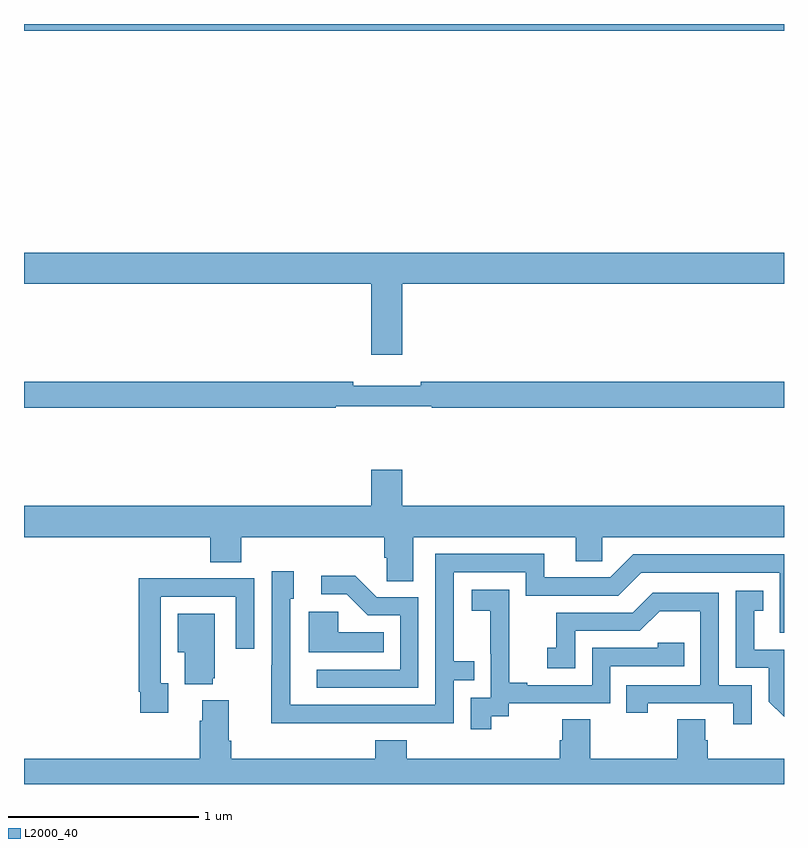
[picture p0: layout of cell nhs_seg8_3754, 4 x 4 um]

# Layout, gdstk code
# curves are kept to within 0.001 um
import gdstk
lib = gdstk.Library(unit=1e-6, precision=1e-09)
def R(c, l, rs):  # rectangles x0, y0, x1, y1
    for r in rs: c.add(gdstk.rectangle(r[:2], r[2:], *l))
def P(c, l, *ps):  # polygons
    for p in ps: c.add(gdstk.Polygon(p, *l))
L2000_40 = (2000, 40)

nhs_seg8_3754 = lib.new_cell('nhs_seg8_3754')
R(nhs_seg8_3754, L2000_40, [(343,1085.864,347,1085.9)])
P(nhs_seg8_3754, L2000_40, [(344.992,1084.532),(347,1084.532),(347,1084.696),(343,1084.696),(343,1084.532),(344.828,1084.532),(344.828,1084.158),(344.992,1084.158)],
  [(344.642,1083.888),(345.145,1083.888),(345.145,1083.88),(347,1083.88),(347,1084.016),(345.088,1084.016),(345.088,1083.997),(344.732,1083.997),(344.732,1084.016),(343,1084.016),(343,1083.88),(344.642,1083.88)],
  [(345.049,1083.2),(345.905,1083.2),(345.905,1083.073),(346.044,1083.073),(346.044,1083.2),(347,1083.2),(347,1083.364),(344.992,1083.364),(344.992,1083.553),(344.828,1083.553),(344.828,1083.364),(343,1083.364),(343,1083.2),(343.979,1083.2),(343.979,1083.067),(344.144,1083.067),(344.144,1083.2),(344.897,1083.2),(344.897,1083.091),(344.91,1083.091),(344.91,1082.968),(345.049,1082.968)],
  [(344.765,1082.22),(345.261,1082.22),(345.261,1082.445),(345.371,1082.445),(345.371,1082.546),(345.261,1082.546),(345.261,1083.015),(345.642,1083.015),(345.642,1082.892),(346.128,1082.892),(346.248,1083.012),(346.977,1083.012),(346.977,1082.697),(347,1082.697),(347,1083.108),(346.206,1083.108),(346.086,1082.988),(345.739,1082.988),(345.739,1083.111),(345.165,1083.111),(345.165,1082.316),(344.401,1082.316),(344.4,1082.874),(344.419,1082.874),(344.419,1083.019),(344.304,1083.019),(344.304,1082.525),(344.302,1082.525),(344.302,1082.219)],
  [(345.075,1082.883),(344.856,1082.883),(344.743,1082.996),(344.565,1082.996),(344.565,1082.898),(344.699,1082.898),(344.81,1082.787),(344.979,1082.787),(344.979,1082.502),(344.541,1082.502),(344.541,1082.406),(345.075,1082.406)],
  [(343.759,1082.43),(343.719,1082.43),(343.719,1082.886),(344.115,1082.886),(344.115,1082.613),(344.211,1082.613),(344.211,1082.982),(343.895,1082.982),(343.895,1082.984),(343.603,1082.984),(343.603,1082.386),(343.611,1082.386),(343.611,1082.274),(343.759,1082.274)],
  [(345.46,1082.257),(345.552,1082.257),(345.552,1082.325),(346.086,1082.325),(346.086,1082.52),(346.475,1082.52),(346.475,1082.643),(346.335,1082.643),(346.335,1082.616),(345.99,1082.616),(345.99,1082.421),(345.649,1082.421),(345.649,1082.434),(345.554,1082.434),(345.554,1082.717),(345.555,1082.717),(345.555,1082.923),(345.357,1082.923),(345.357,1082.813),(345.455,1082.813),(345.455,1082.585),(345.456,1082.585),(345.456,1082.355),(345.351,1082.355),(345.351,1082.187),(345.46,1082.187)],
  [(347,1082.607),(346.843,1082.607),(346.843,1082.811),(346.892,1082.811),(346.892,1082.917),(346.746,1082.917),(346.746,1082.511),(346.92,1082.511),(346.92,1082.334),(347,1082.255)],
  [(346.83,1082.421),(346.656,1082.421),(346.656,1082.907),(346.31,1082.907),(346.205,1082.802),(345.802,1082.802),(345.802,1082.617),(345.753,1082.617),(345.753,1082.508),(345.9,1082.508),(345.9,1082.706),(346.242,1082.706),(346.346,1082.81),(346.56,1082.81),(346.56,1082.421),(346.171,1082.421),(346.171,1082.274),(346.282,1082.274),(346.282,1082.325),(346.733,1082.325),(346.733,1082.214),(346.83,1082.214)],
  [(344.894,1082.698),(344.655,1082.698),(344.655,1082.806),(344.498,1082.806),(344.498,1082.594),(344.894,1082.594)],
  [(343.994,1082.457),(344.005,1082.457),(344.005,1082.797),(343.808,1082.797),(343.808,1082.594),(343.847,1082.594),(343.847,1082.426),(343.994,1082.426)],
  [(347,1082.032),(346.598,1082.032),(346.598,1082.13),(346.585,1082.13),(346.585,1082.24),(346.438,1082.24),(346.438,1082.032),(345.981,1082.032),(345.981,1082.24),(345.833,1082.24),(345.833,1082.13),(345.821,1082.13),(345.821,1082.032),(345.014,1082.032),(345.014,1082.131),(344.849,1082.131),(344.849,1082.032),(344.09,1082.032),(344.09,1082.128),(344.077,1082.128),(344.077,1082.341),(343.937,1082.341),(343.937,1082.234),(343.925,1082.234),(343.925,1082.032),(343,1082.032),(343,1081.9),(347,1081.9)])

lib.write_gds('nhs_seg8_3754.gds')
